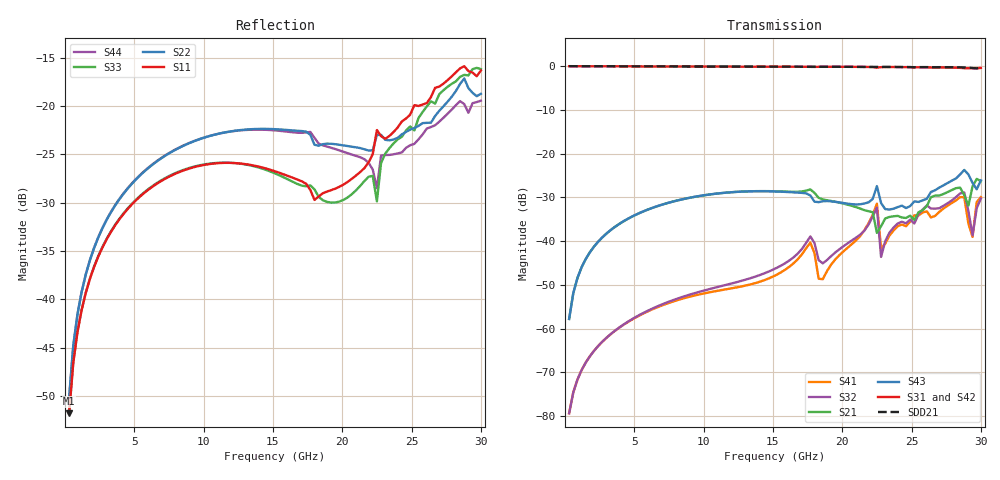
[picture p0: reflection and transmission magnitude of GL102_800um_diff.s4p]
! Created Thu Apr 22 14:39:56 2021
! List of port names and net name(s): example Port n = <port_name> <net_name1> <net_name2> ...
! Port 1 = P1 P3 gnd!
! Port 2 = P2 N__0 gnd!
! Port 3 = P3 P3 P7
! Port 4 = P4 N__0 P8
# hz S ri R 50
! 4 Port Network Data from data block
! freq  reS11  imS11  reS12  imS12  reS13  imS13  reS14  imS14
!  reS21  imS21  reS22  imS22  reS23  imS23  reS24  imS24
!  reS31  imS31  reS32  imS32  reS33  imS33  reS34  imS34
!  reS41  imS41  reS42  imS42  reS43  imS43  reS44  imS44
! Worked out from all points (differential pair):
!   100 points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, 300 MHz to 30 GHz, reference 50 ohm
!   strongest paths, dB at 300 MHz, 7.8 GHz, 15.3 GHz, 22.8 GHz, 30 GHz:
!     S31: 0.0, -0.1, -0.1, -0.2, -0.4
!     S42: 0.0, -0.1, -0.1, -0.2, -0.4
!     S43: -57.8, -30.9, -28.7, -31.3, -26.1
!     S21: -57.8, -31.0, -28.6, -36.6, -26.3
!     S32: -79.4, -53.5, -46.1, -43.6, -30.3
!     S41: -79.4, -53.8, -47.6, -41.6, -29.9
!   taken as a pair (ports 1,2 in; 3,4 out), SDD21 dB: 0.0, -0.1, -0.1, -0.2, -0.4
!   lowest |S11| = -51.8 dB at 300 MHz (marker M1), VSWR 1.01, Z = 50.1 + j0.247 ohm
!   |S11| at or under -10 dB: start of sweep to end of sweep
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3e8  0.000707 0.00247  0.000101 0.00129  0.9986 -0.0316  -4.61e-05 -9.73e-05
     0.000101 0.00129  0.000722 0.003  -4.59e-05 -9.73e-05  0.9986 -0.0315
     0.9986 -0.0316  -4.59e-05 -9.73e-05  0.000715 0.00247  8e-05 0.00129
     -4.61e-05 -9.73e-05  0.9986 -0.0315  8e-05 0.00129  0.000739 0.003
4.2e9  0.0119 0.0248  0.00889 0.0142  0.9032 -0.4168  -0.000955 -0.000543
       0.00889 0.0142  0.0144 0.0319  -0.000942 -0.000579  0.9036 -0.4155
       0.9032 -0.4168  -0.000942 -0.000579  0.0138 0.0241  0.00552 0.0158
       -0.000955 -0.000543  0.9036 -0.4155  0.00552 0.0158  0.0175 0.0305
1.53e10  0.0413 0.0193  0.0327 -0.0175  -0.0012 -0.9858  -0.00383 0.0016
         0.0327 -0.0175  0.0715 0.0255  -0.00455 0.00201  0.00603 -0.9842
         -0.0012 -0.9858  -0.00455 0.00201  0.0412 -0.0165  0.0326 0.0173
         -0.00383 0.0016  0.00603 -0.9842  0.0326 0.0173  0.0714 -0.022
1.86e10  0.0259 0.0241  0.0114 -0.0277  -0.3307 -0.9255  -0.00283 0.00235
         0.0114 -0.0277  0.0611 0.0175  -0.00336 0.00445  -0.3185 -0.9277
         -0.3307 -0.9255  -0.00336 0.00445  0.00629 -0.032  0.0259 0.0121
         -0.00283 0.00235  -0.3185 -0.9277  0.0259 0.0121  0.0378 -0.05
2.25e10  0.0141 0.0739  -0.0123 -0.00138  -0.6647 -0.6944  -0.00591 0.0261
         -0.0123 -0.00138  0.0556 0.0441  7.37e-05 0.0242  -0.6551 -0.7072
         -0.6647 -0.6944  7.37e-05 0.0242  -0.0313 -0.00717  0.0336 0.0261
         -0.00591 0.0261  -0.6551 -0.7072  0.0336 0.0261  -0.00764 -0.0368
2.28e10  0.03 0.0632  -0.00257 -0.0146  -0.6843 -0.6925  0.000458 0.00827
         -0.00257 -0.0146  0.0638 0.0313  -0.000281 0.00659  -0.6747 -0.7031
         -0.6843 -0.6925  -0.000281 0.00659  -0.0461 -0.0213  0.0259 0.00862
         0.000458 0.00827  -0.6747 -0.7031  0.0259 0.00862  -0.0154 -0.0533
3e10  0.0985 0.117  -0.0102 0.0474  -0.9533 -0.022  -0.000262 0.0318
      -0.0102 0.0474  0.0957 0.0653  0.00272 0.0306  -0.9594 -0.0418
      -0.9533 -0.022  0.00272 0.0306  -0.0849 0.1304  0.0165 0.0466
      -0.000262 0.0318  -0.9594 -0.0418  0.0165 0.0466  -0.0774 0.0735
